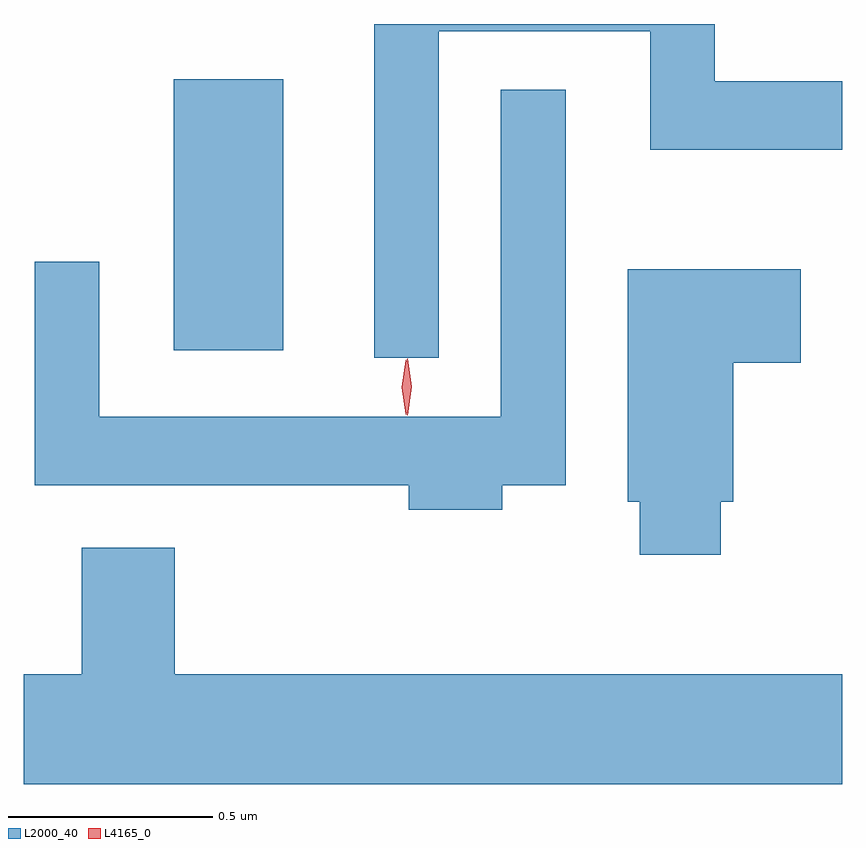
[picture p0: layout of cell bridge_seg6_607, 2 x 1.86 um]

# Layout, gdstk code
import gdstk
lib = gdstk.Library(unit=1e-6, precision=1e-09)
def R(c, l, rs):  # rectangles x0, y0, x1, y1
    for r in rs: c.add(gdstk.rectangle(r[:2], r[2:], *l))
def P(c, l, *ps):  # polygons
    for p in ps: c.add(gdstk.Polygon(p, *l))
L2000_40 = (2000, 40)
L4165_0 = (4165, 0)

bridge_seg6_607 = lib.new_cell('bridge_seg6_607')
R(bridge_seg6_607, L2000_40, [(499.426,1633.236,499.694,1633.899)])
P(bridge_seg6_607, L2000_40, [(500.074,1634.016),(500.591,1634.016),(500.591,1633.726),(501.06,1633.726),(501.06,1633.894),(500.749,1633.894),(500.749,1634.034),(499.916,1634.034),(499.916,1633.218),(500.074,1633.218)],
  [(500.229,1632.906),(500.384,1632.906),(500.384,1633.873),(500.226,1633.873),(500.226,1633.074),(499.244,1633.074),(499.244,1633.453),(499.086,1633.453),(499.086,1632.906),(500.001,1632.906),(500.001,1632.846),(500.229,1632.846)],
  [(500.764,1632.866),(500.794,1632.866),(500.794,1633.206),(500.959,1633.206),(500.959,1633.434),(500.536,1633.434),(500.536,1632.866),(500.566,1632.866),(500.566,1632.736),(500.764,1632.736)],
  [(501.06,1632.444),(499.429,1632.444),(499.429,1632.754),(499.201,1632.754),(499.201,1632.444),(499.06,1632.444),(499.06,1632.176),(501.06,1632.176)])
P(bridge_seg6_607, L4165_0, [(499.994,1633.079),(499.993,1633.08),(499.984,1633.146),(499.993,1633.212),(499.994,1633.213),(499.994,1633.212),(500.004,1633.146),(499.994,1633.08)],
  [(499.998,1633.077),(499.997,1633.078),(499.988,1633.147),(499.997,1633.216),(499.997,1633.216),(499.998,1633.216),(500.008,1633.147),(499.998,1633.078)])

lib.write_gds('bridge_seg6_607.gds')
